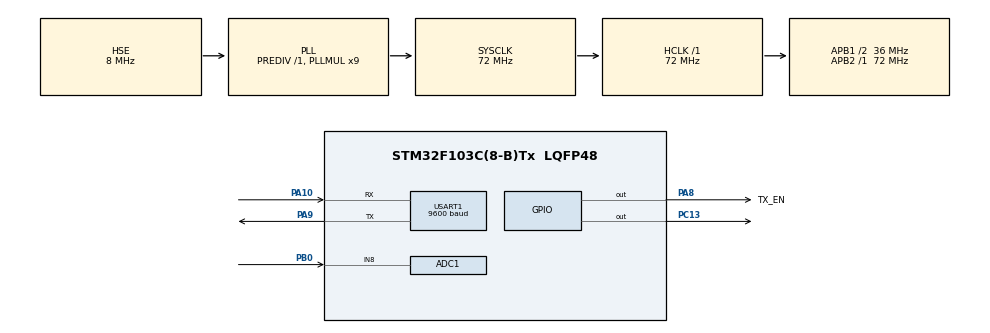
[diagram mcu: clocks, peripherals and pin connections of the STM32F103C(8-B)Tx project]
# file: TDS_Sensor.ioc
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ADC1.Channel-6\#ChannelRegularConversion=ADC_CHANNEL_8
ADC1.ContinuousConvMode=ENABLE
ADC1.NbrOfConversionFlag=1
ADC1.Rank-6\#ChannelRegularConversion=1
ADC1.SamplingTime-6\#ChannelRegularConversion=ADC_SAMPLETIME_1CYCLE_5
ADC1.master=1
Mcu.Family=STM32F1
Mcu.Name=STM32F103C(8-B)Tx
Mcu.Package=LQFP48
NVIC.PriorityGroup=NVIC_PRIORITYGROUP_4
NVIC.USART1_IRQn=true\:0\:0\:false\:false\:true\:true\:true\:true
PA10.Mode=Asynchronous
PA10.Signal=USART1_RX
PA13.Mode=Serial_Wire
PA13.Signal=SYS_JTMS-SWDIO
PA14.Mode=Serial_Wire
PA14.Signal=SYS_JTCK-SWCLK
PA8.GPIO_Label=TX_EN
PA8.Signal=GPIO_Output
PA9.Mode=Asynchronous
PA9.Signal=USART1_TX
PB0.Signal=ADCx_IN8
PC13-TAMPER-RTC.Signal=GPIO_Output
PD0-OSC_IN.Mode=HSE-External-Oscillator
PD0-OSC_IN.Signal=RCC_OSC_IN
PD1-OSC_OUT.Mode=HSE-External-Oscillator
PD1-OSC_OUT.Signal=RCC_OSC_OUT
ProjectManager.HeapSize=0x200
ProjectManager.StackSize=0x400
ProjectManager.TargetToolchain=STM32CubeIDE
RCC.ADCPresc=RCC_ADCPCLK2_DIV6
RCC.AHBFreq_Value=72000000
RCC.APB1CLKDivider=RCC_HCLK_DIV2
RCC.APB1Freq_Value=36000000
RCC.APB1TimFreq_Value=72000000
RCC.APB2Freq_Value=72000000
RCC.APB2TimFreq_Value=72000000
RCC.HCLKFreq_Value=72000000
RCC.PLLMUL=RCC_PLL_MUL9
RCC.PLLSourceVirtual=RCC_PLLSOURCE_HSE
RCC.SYSCLKFreq_VALUE=72000000
RCC.SYSCLKSource=RCC_SYSCLKSOURCE_PLLCLK
RCC.USBFreq_Value=48000000
RCC.USBPrescaler=RCC_USBCLKSOURCE_PLL_DIV1_5
SH.ADCx_IN8.0=ADC1_IN8,IN8
USART1.BaudRate=9600
USART1.VirtualMode=VM_ASYNC
board=custom

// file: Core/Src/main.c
/* USER CODE BEGIN Header */
/**
  ******************************************************************************
  * @file           : main.c
  * @brief          : Main program body
  ******************************************************************************
  * @attention
  *
  * Copyright (c) 2025 STMicroelectronics.
  * All rights reserved.
  *
  * This software is licensed under terms that can be found in the LICENSE file
  * in the root directory of this software component.
  * If no LICENSE file comes with this software, it is provided AS-IS.
  *
  ******************************************************************************
  */
/* USER CODE END Header */
#include "main.h"

/* USER CODE BEGIN Includes */
#include "string.h"
//#include "usbd_cdc_if.h"
#include "Modbus_RTU_Driver.h"
#include "modbus_slave.h"
/* USER CODE END Includes */

ADC_HandleTypeDef hadc1;

UART_HandleTypeDef huart1;

/* USER CODE BEGIN PV */
ModbusRTU_Driver rtu;

uint16_t sensor_reading;
float v_reading;
uint16_t v_estimate;
float v_estimate_f;
float tdsValue;
uint16_t tds;
char msg[50];
uint8_t tx_buffer[16];
uint8_t rx_buffer[16];

extern uint16_t g_mb_input_regs[MODBUS_NUM_INPUT_REGS];
/*
typedef struct
{
	uint16_t y; //last output
	float alpha; //alpha, smooting factor 0 < alpha < 1
} LPF;
*/
typedef struct
{
	uint16_t x; // state estimate
	float p; // estimate variance
	float r; // measurement variance
	float q; // process variance
}KalmanFilter;

/* USER CODE END PV */

void SystemClock_Config(void);
static void MX_GPIO_Init(void);
static void MX_ADC1_Init(void);
static void MX_USART1_UART_Init(void);
/* USER CODE BEGIN PFP */
/*
void LPF_Init(LPF *lpfilt, float alpha)
{
	lpfilt->y = 0;
	lpfilt->alpha = alpha;
}
uint16_t LPF_Update(LPF *lpfilt, uint16_t x)
{
	lpfilt->y = lpfilt->y + (uint16_t) (lpfilt->alpha*(x - lpfilt->y) + 0.5f);
	return lpfilt->y;
}*/

//Kalman Filter
void Kalman_Init(KalmanFilter *kalman, float x0, float p0, float r, float q)
{
	kalman->x = (uint16_t)x0; // state estimate
	kalman->p = p0; // estimate variance
	kalman->r = r; // measurement noise
	kalman->q = q;// process noise
}

uint16_t Kalman_Update(KalmanFilter *kalman, uint16_t z_uint16)
{
	float z = (float)z_uint16;
	float x_prior = (float)kalman->x;
	float p_prior = kalman->p + kalman->q;

	// Kalman Gain
	float Kn = p_prior / (p_prior + kalman->r);
	float x_post = x_prior + Kn*(z - x_prior);
	kalman->p = (1-Kn)*p_prior;
	kalman->x = (uint16_t)x_post;
	return kalman->x;
}

//code to print a float to character buffer
/*
void PrintFloat(char *buff, float x, uint16_t decimals)
{
	flaot scale = 1;
	for(int i = 1; i<=decimals; i++) scale *= 10.0f;
	uint16_t whole = (uint16_t)x;
	uint16_t frac = (uint16_t) x*scale;

}*/
/* USER CODE END PFP */

int main(void)
{

  /* MCU Configuration--------------------------------------------------------*/

  /* Reset of all peripherals, Initializes the Flash interface and the Systick. */
  HAL_Init();

  /* USER CODE BEGIN Init */
  /*
  LPF filter1;
  float alpha = 0.0625f;
  LPF_Init(&filter1, alpha);
  */
  g_mb_input_regs[0] = 0;

  KalmanFilter kf1;
  float x0 = 15000.0f;
  float p0 = 1e-4f;
  float r = 1e-3f;
  float q = 1e-4f;

  Kalman_Init(&kf1, x0, p0, r, q);

  Modbus_Slave_Init();

  /* USER CODE END Init */

  /* Configure the system clock */
  SystemClock_Config();

  /* Initialize all configured peripherals */
  MX_GPIO_Init();
  MX_ADC1_Init();
  MX_USART1_UART_Init();
  /* USER CODE BEGIN 2 */
  HAL_ADC_Start(&hadc1);
  ModbusRTU_Init(&rtu,
  		  	  	 &huart1,
  				 GPIOA, //enable port
  				 GPIO_PIN_8, //enable pin
  				 Modbus_Slave_OnFrame);
  /* USER CODE END 2 */

  /* Infinite loop */
  while (1)
  {

    /* USER CODE BEGIN 3 */
	  HAL_ADC_PollForConversion(&hadc1, HAL_MAX_DELAY);
	  ModbusRTU_Poll(&rtu); //poll modbus
	  sensor_reading = HAL_ADC_GetValue(&hadc1);
	  //v_reading = sensor_reading*8; // Voltage in 10^-4 V reactivate this line
	  // v_estimate = LPF_Update(&filter1, v_reading);
	  v_reading = sensor_reading*8.105f;
	  /*v_estimate = Kalman_Update(&kf1, v_reading);
	  v_estimate_f = (float) v_estimate;
	  v_estimate_f = v_estimate_f/10000.0f;
	  tdsValue = (133.42f * v_estimate_f * v_estimate_f * v_estimate_f - 255.86f * v_estimate_f * v_estimate_f + 857.39f * v_estimate_f) * 0.5f; //convert voltage value to tds value
	  tds = (uint16_t)(tdsValue*100.0f);*/
	  g_mb_input_regs[0] = (uint16_t) v_reading;

	  //tds = (uint16_t) tdsValue;
	  /* this is for usb transmission:
	  sprintf(msg, "read: %hu.%03hu V, Est: %hu.%03hu V, ppm: %hu.%02hu\r\n", (uint16_t)(v_reading/10000), (uint16_t)(v_reading%10000), (uint16_t)(v_estimate/10000), (uint16_t)(v_estimate%10000), (uint16_t)(tds/100), (uint16_t)(tds%100));
	  CDC_Transmit_FS((uint8_t *)msg, strlen(msg));
	  */
	  HAL_GPIO_WritePin(GPIOC, GPIO_PIN_13, 1);
	  HAL_Delay(250);
	  HAL_GPIO_WritePin(GPIOC, GPIO_PIN_13, 0);
	  HAL_Delay(250);
  }
  /* USER CODE END 3 */
}

void SystemClock_Config(void)
{
  RCC_OscInitTypeDef RCC_OscInitStruct = {0};
  RCC_ClkInitTypeDef RCC_ClkInitStruct = {0};
  RCC_PeriphCLKInitTypeDef PeriphClkInit = {0};

  /** Initializes the RCC Oscillators according to the specified parameters
  * in the RCC_OscInitTypeDef structure.
  */
  RCC_OscInitStruct.OscillatorType = RCC_OSCILLATORTYPE_HSE;
  RCC_OscInitStruct.HSEState = RCC_HSE_ON;
  RCC_OscInitStruct.HSEPredivValue = RCC_HSE_PREDIV_DIV1;
  RCC_OscInitStruct.HSIState = RCC_HSI_ON;
  RCC_OscInitStruct.PLL.PLLState = RCC_PLL_ON;
  RCC_OscInitStruct.PLL.PLLSource = RCC_PLLSOURCE_HSE;
  RCC_OscInitStruct.PLL.PLLMUL = RCC_PLL_MUL9;
  if (HAL_RCC_OscConfig(&RCC_OscInitStruct) != HAL_OK)
  {
    Error_Handler();
  }

  /** Initializes the CPU, AHB and APB buses clocks
  */
  RCC_ClkInitStruct.ClockType = RCC_CLOCKTYPE_HCLK|RCC_CLOCKTYPE_SYSCLK
                              |RCC_CLOCKTYPE_PCLK1|RCC_CLOCKTYPE_PCLK2;
  RCC_ClkInitStruct.SYSCLKSource = RCC_SYSCLKSOURCE_PLLCLK;
  RCC_ClkInitStruct.AHBCLKDivider = RCC_SYSCLK_DIV1;
  RCC_ClkInitStruct.APB1CLKDivider = RCC_HCLK_DIV2;
  RCC_ClkInitStruct.APB2CLKDivider = RCC_HCLK_DIV1;

  if (HAL_RCC_ClockConfig(&RCC_ClkInitStruct, FLASH_LATENCY_2) != HAL_OK)
  {
    Error_Handler();
  }
  PeriphClkInit.PeriphClockSelection = RCC_PERIPHCLK_ADC;
  PeriphClkInit.AdcClockSelection = RCC_ADCPCLK2_DIV6;
  if (HAL_RCCEx_PeriphCLKConfig(&PeriphClkInit) != HAL_OK)
  {
    Error_Handler();
  }
}

static void MX_ADC1_Init(void)
{

  ADC_ChannelConfTypeDef sConfig = {0};

  /** Common config
  */
  hadc1.Instance = ADC1;
  hadc1.Init.ScanConvMode = ADC_SCAN_DISABLE;
  hadc1.Init.ContinuousConvMode = ENABLE;
  hadc1.Init.DiscontinuousConvMode = DISABLE;
  hadc1.Init.ExternalTrigConv = ADC_SOFTWARE_START;
  hadc1.Init.DataAlign = ADC_DATAALIGN_RIGHT;
  hadc1.Init.NbrOfConversion = 1;
  if (HAL_ADC_Init(&hadc1) != HAL_OK)
  {
    Error_Handler();
  }

  /** Configure Regular Channel
  */
  sConfig.Channel = ADC_CHANNEL_8;
  sConfig.Rank = ADC_REGULAR_RANK_1;
  sConfig.SamplingTime = ADC_SAMPLETIME_1CYCLE_5;
  if (HAL_ADC_ConfigChannel(&hadc1, &sConfig) != HAL_OK)
  {
    Error_Handler();
  }

}

static void MX_USART1_UART_Init(void)
{

  huart1.Instance = USART1;
  huart1.Init.BaudRate = 9600;
  huart1.Init.WordLength = UART_WORDLENGTH_8B;
  huart1.Init.StopBits = UART_STOPBITS_1;
  huart1.Init.Parity = UART_PARITY_NONE;
  huart1.Init.Mode = UART_MODE_TX_RX;
  huart1.Init.HwFlowCtl = UART_HWCONTROL_NONE;
  huart1.Init.OverSampling = UART_OVERSAMPLING_16;
  if (HAL_UART_Init(&huart1) != HAL_OK)
  {
    Error_Handler();
  }

}

static void MX_GPIO_Init(void)
{
  GPIO_InitTypeDef GPIO_InitStruct = {0};

  /* GPIO Ports Clock Enable */
  __HAL_RCC_GPIOC_CLK_ENABLE();
  __HAL_RCC_GPIOD_CLK_ENABLE();
  __HAL_RCC_GPIOB_CLK_ENABLE();
  __HAL_RCC_GPIOA_CLK_ENABLE();

  /*Configure GPIO pin Output Level */
  HAL_GPIO_WritePin(GPIOC, GPIO_PIN_13, GPIO_PIN_RESET);

  /*Configure GPIO pin Output Level */
  HAL_GPIO_WritePin(TX_EN_GPIO_Port, TX_EN_Pin, GPIO_PIN_RESET);

  /*Configure GPIO pin : PC13 */
  GPIO_InitStruct.Pin = GPIO_PIN_13;
  GPIO_InitStruct.Mode = GPIO_MODE_OUTPUT_PP;
  GPIO_InitStruct.Pull = GPIO_NOPULL;
  GPIO_InitStruct.Speed = GPIO_SPEED_FREQ_LOW;
  HAL_GPIO_Init(GPIOC, &GPIO_InitStruct);

  /*Configure GPIO pin : TX_EN_Pin */
  GPIO_InitStruct.Pin = TX_EN_Pin;
  GPIO_InitStruct.Mode = GPIO_MODE_OUTPUT_PP;
  GPIO_InitStruct.Pull = GPIO_NOPULL;
  GPIO_InitStruct.Speed = GPIO_SPEED_FREQ_LOW;
  HAL_GPIO_Init(TX_EN_GPIO_Port, &GPIO_InitStruct);

}

void Error_Handler(void)
{
  __disable_irq();
  while (1)
  {
  }
}
